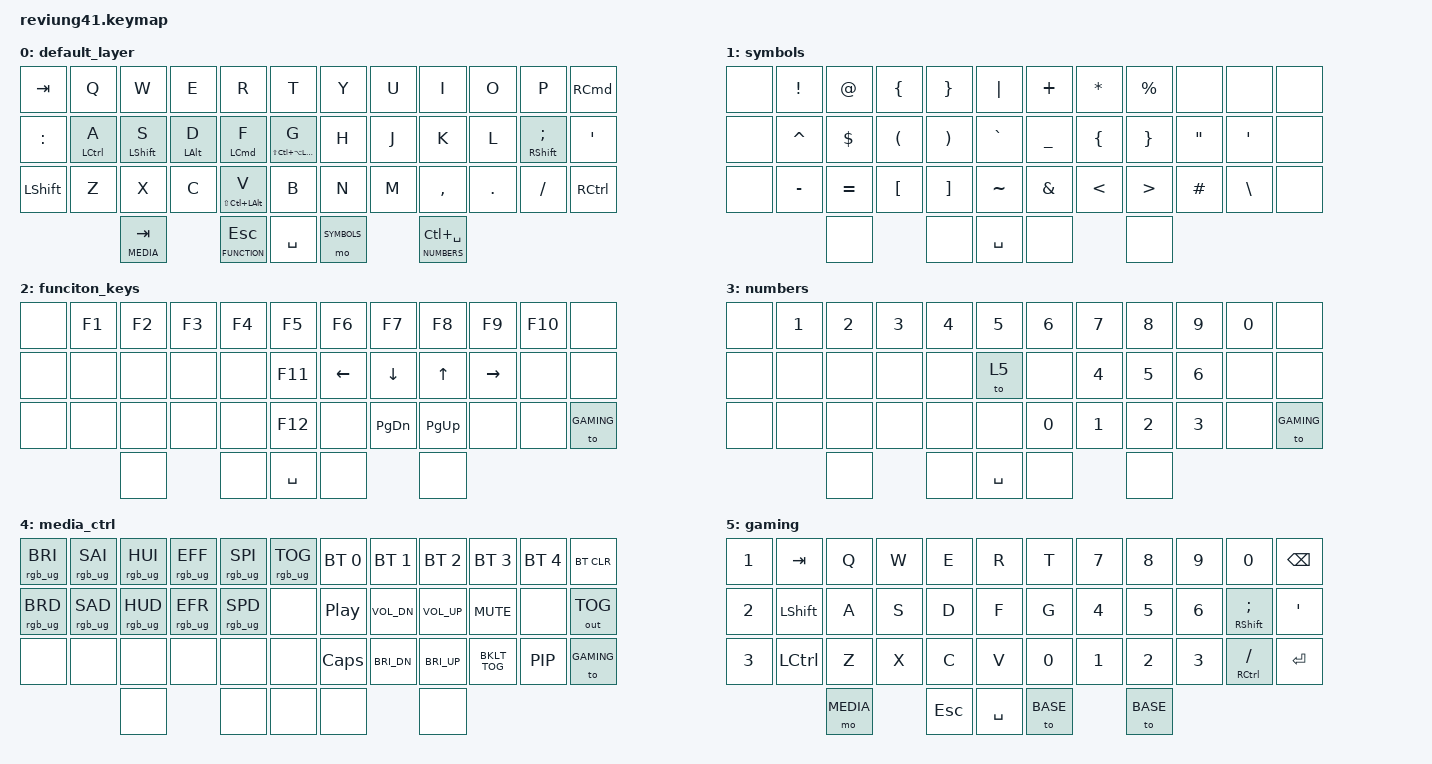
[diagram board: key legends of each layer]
/*
 * Copyright (c) 2020 The ZMK Contributors
 *
 * SPDX-License-Identifier: MIT
 */

 /*
 * Temporarily here because nice nano v2 spi is not defined on ZMk Yet
 * Source: https://github.com/zmkfirmware/zmk/blob/main/app/boards/shields/reviung41/boards/nice_nano.overlay
 * GitHub Issue: https://github.com/zmkfirmware/zmk/issues/885
 */

#include <behaviors.dtsi>
#include <dt-bindings/zmk/keys.h>
#include <dt-bindings/zmk/bt.h>
#include <dt-bindings/zmk/rgb.h>
#include <dt-bindings/zmk/outputs.h>

#define HYP LS(LC(LA(LGUI)))
#define HYPER(key) LS(LC(LA(LG(key))))
#define MEH LS(LC(LALT))
#define MEH_W(key) LS(LC(LA(key)))

#define BASE 0
#define SYMBOLS 1
#define FUNCTION 2
#define NUMBERS 3
#define MEDIA 4
#define GAMING 5



&mt {
        tapping-term-ms = <300>;
};

&soft_off { hold-time-ms = <1500>; };

/ {
    combos {
        compatible = "zmk,combos";
        combo_del {
            timeout-ms = <50>;
            key-positions = <20 21>;
            bindings = <&kp DEL>;
            layers = <0>;
        };
        combo_double {
            timeout-ms = <50>;
            key-positions = <22 23>;
            bindings = <&kp DQT>;
            layers = <0>;
        };
        combo_bksp {
            timeout-ms = <50>;
            key-positions = <19 20>;
            bindings = <&kp BSPC>;
            layers = <0>;
        };
        combo_tab {
            timeout-ms = <50>;
            key-positions = <27 28>;
            bindings = <&kp TAB>;
            layers = <0>;
        };
        combo_ret {
            timeout-ms = <50>;
            key-positions = <31 32>;
            bindings = <&kp RET>;
            layers = <0>;
        };
        softoff {
            bindings = <&soft_off>;
            key-positions = <1 2>;
            layers = <0>;
        };
        
    };
};

/ {
        behaviors {
                gqt: mod-tap {
                        compatible = "zmk,behavior-hold-tap";
                        label = "GLOBAL_QUICK_TAP";
                        #binding-cells = <2>;
                        flavor = "tap-preferred";
                        tapping-term-ms = <250>;
                        quick-tap-ms = <200>;
                        global-quick-tap;
                        bindings = <&kp>, <&kp>;
                };
        };
        keymap {
                compatible = "zmk,keymap";

                default_layer {
                        bindings = <
   &kp TAB   &kp Q        &kp W        &kp E       &kp R       &kp T        &kp Y  &kp U &kp I     &kp O     &kp P           &kp RCMD
   &kp COLON &gqt LCTRL A &gqt LSHFT S &gqt LALT D &gqt LCMD F &gqt HYP G   &kp H  &kp J &kp K     &kp L     &gqt RSHFT SEMI &kp SQT
   &kp LSHFT &kp Z        &kp X        &kp C       &gqt MEH V  &kp B        &kp N  &kp M &kp COMMA &kp DOT   &kp FSLH        &kp RCTRL
                                &lt MEDIA TAB   &lt FUNCTION ESC   &kp SPACE   &mo SYMBOLS &lt NUMBERS LC(SPACE)
                        >;
                };
 
                symbols {
                        bindings = <
   &none &kp EXCL   &kp AT     &kp LBRC  &kp RBRC  &kp PIPE       &kp PLUS  &kp STAR   &kp PRCNT  &none     &none     &none
   &none &kp CARET  &kp DLLR   &kp LPAR  &kp RPAR  &kp GRAVE      &kp UNDER &kp LBRC   &kp RBRC   &kp DQT   &kp SQT   &none
   &none &kp MINUS  &kp EQUAL  &kp LBKT  &kp RBKT  &kp TILDE      &kp AMPS  &kp LT     &kp GT     &kp HASH  &kp BSLH  &none
                                            &none  &none  &kp SPACE  &none  &none
                        >;
                };


                funciton_keys {
                        bindings = <
   &none &kp F1  &kp F2  &kp F3  &kp F4  &kp F5        &kp F6   &kp F7     &kp F8     &kp F9     &kp F10  &none
   &none &none   &none   &none   &none   &kp F11       &kp LEFT &kp DOWN   &kp UP     &kp RIGHT  &none    &none
   &none &none   &none   &none   &none   &kp F12       &none    &kp PG_DN  &kp PG_UP  &none      &none    &to GAMING
                                  &none  &none  &kp SPACE  &none  &none
                        >;
                };

                numbers {
                        bindings = <
   &none &kp N1  &kp N2  &kp N3  &kp N4  &kp N5     &kp N6   &kp N7    &kp N8  &kp N9     &kp N0   &none
   &none &none   &none   &none   &none   &to 5      &none    &kp N4    &kp N5  &kp N6     &none    &none
   &none &none   &none   &none   &none   &none      &kp N0   &kp N1    &kp N2  &kp N3     &none    &to GAMING
                                &none  &none  &kp SPACE  &none  &none
                        >;
                };


                media_ctrl {
                        bindings = <
   &rgb_ug RGB_BRI &rgb_ug RGB_SAI &rgb_ug RGB_HUI &rgb_ug RGB_EFF &rgb_ug RGB_SPI &rgb_ug RGB_TOG    &bt BT_SEL 0 &bt BT_SEL 1 &bt BT_SEL 2 &bt BT_SEL 3   &bt BT_SEL 4 &bt BT_CLR
   &rgb_ug RGB_BRD &rgb_ug RGB_SAD &rgb_ug RGB_HUD &rgb_ug RGB_EFR &rgb_ug RGB_SPD &none              &kp C_PP     &kp C_VOL_DN &kp C_VOL_UP &kp C_MUTE     &none        &out OUT_TOG
   &none           &none           &none           &none           &none           &none              &kp CAPS     &kp C_BRI_DN &kp C_BRI_UP &kp C_BKLT_TOG &kp C_PIP    &to GAMING
                                                             &none      &none       &none        &none      &none
                        >;
                };

                gaming {
                        bindings = <
   &kp N1 &kp TAB   &kp Q &kp W &kp E &kp R      &kp T   &kp N7 &kp N8 &kp N9 &kp N0          &kp BSPC
   &kp N2 &kp LSHFT &kp A &kp S &kp D &kp F      &kp G   &kp N4 &kp N5 &kp N6 &gqt RSHFT SEMI &kp SQT
   &kp N3 &kp LCTRL &kp Z &kp X &kp C &kp V      &kp N0  &kp N1 &kp N2 &kp N3 &gqt RCTRL FSLH &kp RET
                            &mo MEDIA  &kp ESC  &kp SPACE  &to BASE  &to BASE
                        >;
                };
        };
};
